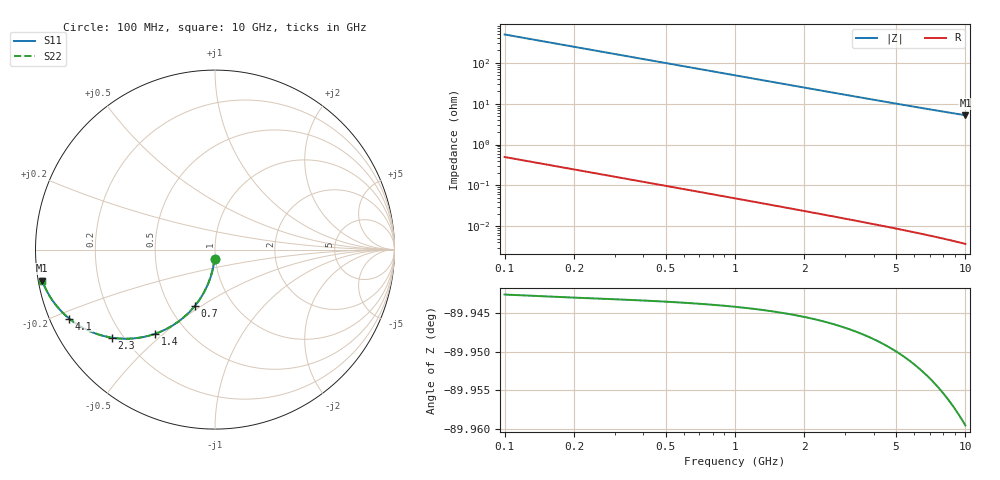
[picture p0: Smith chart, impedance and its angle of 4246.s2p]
# Hz S RI R 50.00
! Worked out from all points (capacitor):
!   100 points, 100 MHz to 10 GHz, reference 50 ohm
!   read as one part in shunt: C = 3.23 pF near 100 MHz
!   lowest |Z| = 5.22 ohm at 10 GHz (marker M1)
!   S11 on the Smith chart (normalised r, x): 100 MHz: 0.99, -0.10; 700 MHz: 0.67, -0.47; 1.4 GHz: 0.33, -0.47; 2.3 GHz: 0.16, -0.36; 4.1 GHz: 0.06, -0.22; 10 GHz: 0.01, -0.09
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1e8  -0.00255 -0.0504  0.9973 -0.0507  0.9973 -0.0507  -0.00255 -0.0504
2e8  -0.0102 -0.1  0.9897 -0.1006  0.9897 -0.1006  -0.0102 -0.1
3e8  -0.0227 -0.1481  0.9772 -0.1489  0.9772 -0.1489  -0.0227 -0.1481
4e8  -0.0396 -0.194  0.9603 -0.1951  0.9603 -0.1951  -0.0396 -0.194
5e8  -0.0604 -0.2372  0.9394 -0.2386  0.9394 -0.2386  -0.0604 -0.2372
6e8  -0.0848 -0.2773  0.9151 -0.279  0.9151 -0.279  -0.0848 -0.2773
7e8  -0.1119 -0.3138  0.888 -0.3158  0.888 -0.3158  -0.1119 -0.3138
8e8  -0.1413 -0.3468  0.8586 -0.349  0.8586 -0.349  -0.1413 -0.3468
1e9  -0.2044 -0.4014  0.7955 -0.4042  0.7955 -0.4042  -0.2044 -0.4014
1.2e9  -0.27 -0.4418  0.7299 -0.4452  0.7299 -0.4452  -0.27 -0.4418
1.4e9  -0.3348 -0.4695  0.6651 -0.4734  0.6651 -0.4734  -0.3348 -0.4695
1.6e9  -0.3966 -0.4864  0.6033 -0.4909  0.6033 -0.4909  -0.3966 -0.4864
1.8e9  -0.454 -0.4949  0.5458 -0.4999  0.5458 -0.4999  -0.454 -0.4949
2.3e9  -0.5758 -0.4905  0.424 -0.4969  0.424 -0.4969  -0.5758 -0.4905
2.8e9  -0.668 -0.4665  0.3319 -0.4743  0.3319 -0.4743  -0.668 -0.4665
3.4e9  -0.7479 -0.4288  0.2519 -0.4384  0.2519 -0.4384  -0.7479 -0.4288
4.1e9  -0.8119 -0.3843  0.1879 -0.396  0.1879 -0.396  -0.8119 -0.3843
5.1e9  -0.87 -0.3284  0.1298 -0.3429  0.1298 -0.3429  -0.87 -0.3284
5.8e9  -0.8966 -0.2955  0.1032 -0.3121  0.1032 -0.3121  -0.8966 -0.2955
6.7e9  -0.9206 -0.2599  0.0791 -0.2792  0.0791 -0.2792  -0.9206 -0.2599
8.4e9  -0.9483 -0.2082  0.0513 -0.2326  0.0513 -0.2326  -0.9483 -0.2082
1e10  -0.9632 -0.1723  0.0362 -0.2017  0.0362 -0.2017  -0.9632 -0.1723
